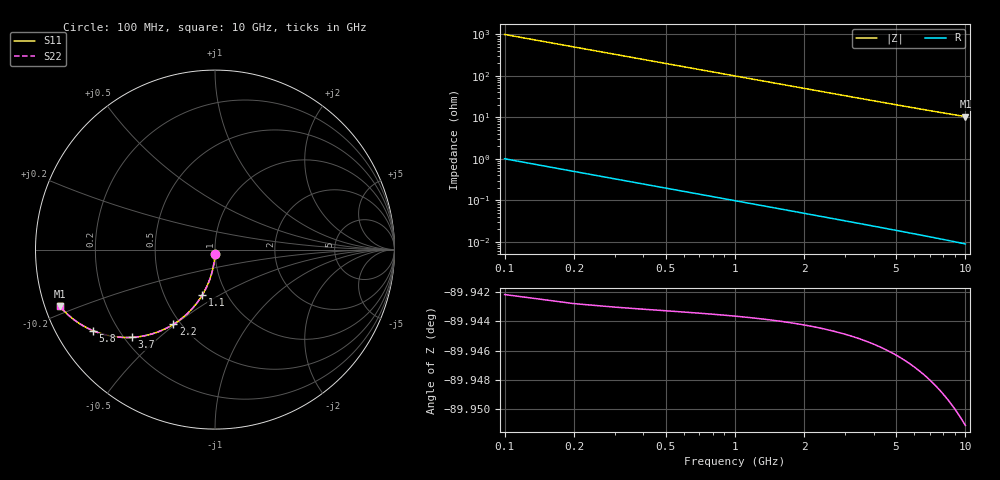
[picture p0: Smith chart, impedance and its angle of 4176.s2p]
# Hz S RI R 50.00
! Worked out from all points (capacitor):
!   100 points, 100 MHz to 10 GHz, reference 50 ohm
!   read as one part in shunt: C = 1.59 pF near 100 MHz
!   lowest |Z| = 10.5 ohm at 10 GHz (marker M1)
!   S11 on the Smith chart (normalised r, x): 100 MHz: 1.00, -0.05; 1.1 GHz: 0.77, -0.42; 2.2 GHz: 0.46, -0.49; 3.7 GHz: 0.23, -0.41; 5.8 GHz: 0.11, -0.30; 10 GHz: 0.04, -0.18
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1e8  -0.0006 -0.0247  0.9993 -0.0252  0.9993 -0.0252  -0.0006 -0.0247
2e8  -0.00249 -0.0493  0.9974 -0.0503  0.9974 -0.0503  -0.00249 -0.0493
3e8  -0.00561 -0.0738  0.9943 -0.0752  0.9943 -0.0752  -0.00561 -0.0738
4e8  -0.00993 -0.0979  0.99 -0.0999  0.99 -0.0999  -0.00993 -0.0979
5e8  -0.0154 -0.1217  0.9845 -0.1241  0.9845 -0.1241  -0.0154 -0.1217
6e8  -0.0221 -0.1451  0.9778 -0.148  0.9778 -0.148  -0.0221 -0.1451
7e8  -0.0298 -0.1679  0.9701 -0.1713  0.9701 -0.1713  -0.0298 -0.1679
9e8  -0.0483 -0.2117  0.9516 -0.2161  0.9516 -0.2161  -0.0483 -0.2117
1.1e9  -0.0704 -0.2527  0.9295 -0.258  0.9295 -0.258  -0.0704 -0.2527
1.4e9  -0.1092 -0.3081  0.8907 -0.3148  0.8907 -0.3148  -0.1092 -0.3081
1.8e9  -0.1685 -0.3695  0.8314 -0.3782  0.8314 -0.3782  -0.1685 -0.3695
2.2e9  -0.2323 -0.4165  0.7675 -0.4272  0.7675 -0.4272  -0.2323 -0.4165
2.8e9  -0.329 -0.4626  0.6708 -0.4762  0.6708 -0.4762  -0.329 -0.4626
3.4e9  -0.4198 -0.4848  0.5799 -0.5013  0.5799 -0.5013  -0.4198 -0.4848
3.7e9  -0.4616 -0.489  0.5381 -0.5071  0.5381 -0.5071  -0.4616 -0.489
4.4e9  -0.5484 -0.4863  0.4513 -0.5079  0.4513 -0.5079  -0.5484 -0.4863
5.1e9  -0.6204 -0.4722  0.3792 -0.4973  0.3792 -0.4973  -0.6204 -0.4722
5.8e9  -0.6793 -0.4518  0.3202 -0.4805  0.3202 -0.4805  -0.6793 -0.4518
6.7e9  -0.7392 -0.4216  0.2601 -0.4551  0.2601 -0.4551  -0.7392 -0.4216
7.5e9  -0.7809 -0.3941  0.2183 -0.4317  0.2183 -0.4317  -0.7809 -0.3941
8.4e9  -0.8178 -0.3639  0.1812 -0.4063  0.1812 -0.4063  -0.8178 -0.3639
1e10  -0.865 -0.3148  0.1335 -0.366  0.1335 -0.366  -0.865 -0.3148
